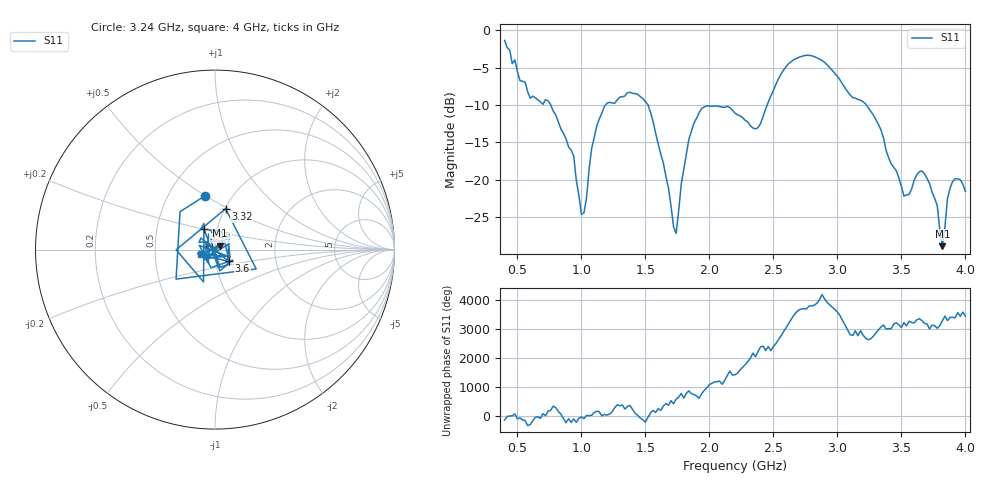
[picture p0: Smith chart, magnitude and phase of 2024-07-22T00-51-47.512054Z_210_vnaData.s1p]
!Created with skrf (http://scikit-rf.org).
# Hz S RI R 50.0
!freq ReS11 ImS11
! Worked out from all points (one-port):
!   181 points, 400 MHz to 4 GHz, reference 50 ohm
!   lowest |S11| = -28.9 dB at 3.82 GHz (marker M1), VSWR 1.07, Z = 52.9 + j2.26 ohm
!   |S11| at or under -10 dB: 761.1 MHz to 1.188 GHz (427 MHz wide, 43.8 % of centre); 1.521 GHz to 2.451 GHz (930.3 MHz wide, 46.8 % of centre); 3.227 GHz to end of sweep
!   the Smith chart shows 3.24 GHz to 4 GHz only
!   S11 on the Smith chart (normalised r, x): 3.24 GHz: 0.75, +0.50; 3.32 GHz: 1.01, +0.49; 3.42 GHz: 0.86, +0.20; 3.6 GHz: 1.16, -0.14; 4 GHz: 0.85, -0.05
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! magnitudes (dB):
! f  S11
! 400 MHz  -1.4
! 600 MHz  -9.1
! 740 MHz  -9.4
! 860 MHz  -13.8
! 940 MHz  -16.8
! 1 GHz  -24.6
! 1.02 GHz  -24.4
! 1.12 GHz  -12.8
! 1.3 GHz  -8.9
! 1.52 GHz  -10.0
! 1.72 GHz  -26.3
! 1.76 GHz  -24.1
! 1.84 GHz  -14.6
! 1.92 GHz  -11.0
! 2.2 GHz  -11.1
! 2.38 GHz  -13.0
! 2.66 GHz  -3.9
! 2.88 GHz  -4.0
! 3.1 GHz  -8.7
! 3.24 GHz  -10.3
! 3.32 GHz  -12.6
! 3.42 GHz  -17.8
! 3.56 GHz  -22.0
! 3.6 GHz  -20.1
! 3.72 GHz  -20.5
! 3.82 GHz  -28.9
! 3.9 GHz  -20.2
! 4 GHz  -21.5
